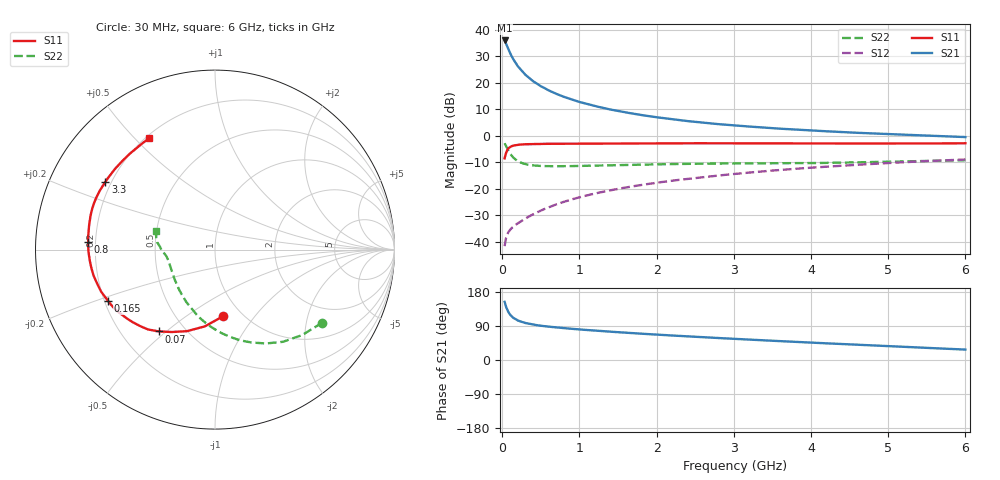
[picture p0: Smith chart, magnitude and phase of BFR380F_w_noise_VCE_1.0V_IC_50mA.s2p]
! Infineon Technologies  Discrete & RF Semiconductors
! BFR380F
! VCE =  1.0 V,  IC =  50 mA
! Common Emitter S-Parameters:  Nov 2015
# GHz  S  MA  R  50
!  f  S11  S21  S12  S22
! GHz  MAG  ANG  MAG  ANG  MAG  ANG  MAG  ANG
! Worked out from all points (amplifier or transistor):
!   206 points, 30 MHz to 6 GHz, reference 50 ohm
!   highest |S21| = 36.0 dB at 30 MHz (marker M1)
!   |S21| within 3 dB of that: start of sweep to 74.54 MHz
!   unconditionally stable (mu >= 1): 566.7 MHz to end of sweep
!   at 200 MHz: K = 0.70, MSG = 29.7 dB, |S12| = -33.1 dB
!   at 1.56 GHz: K = 1.09, MAG = 12.6 dB, |S12| = -19.8 dB
!   at 6 GHz: K = 1.02, MAG = 3.4 dB, |S12| = -9.0 dB
!   lowest NFmin = 1.53 dB at 900 MHz
!   S11 on the Smith chart (normalised r, x): 30 MHz: 0.82, -0.71; 70 MHz: 0.36, -0.47; 165 MHz: 0.21, -0.22; 800 MHz: 0.17, +0.03; 3.3 GHz: 0.18, +0.27; 6 GHz: 0.21, +0.55
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0.03  0.3749 -83.4  63.26 153.6  0.0082 70.7  0.7226 -34.4
0.04  0.4318 -97.6  58.99 146.4  0.0101 65.7  0.6801 -44.4
0.05  0.4806 -109.0  54.69 139.7  0.0119 61.0  0.6382 -53.6
0.07  0.5536 -124.6  46.41 129.8  0.0142 55.6  0.5565 -68.5
0.09  0.597 -134.6  39.66 122.9  0.0159 52.6  0.4929 -80.4
0.11  0.6228 -141.9  34.38 117.5  0.0173 50.8  0.4436 -90.2
0.135  0.646 -148.7  29.25 112.6  0.0187 50.7  0.3992 -100.2
0.15  0.6561 -152.0  26.75 110.2  0.0195 51.0  0.3787 -105.3
0.165  0.6609 -154.4  24.91 108.7  0.0203 51.5  0.363 -109.0
0.2  0.6762 -159.7  20.69 104.3  0.0221 52.6  0.3329 -118.7
0.26  0.6861 -165.2  16.34 100.0  0.0251 55.4  0.3034 -130.0
0.3  0.6921 -168.0  14.18 97.6  0.0273 57.3  0.2914 -136.1
0.4  0.6979 -173.0  10.74 93.5  0.0328 61.2  0.2758 -146.5
0.6  0.7053 -179.2  7.212 87.9  0.0445 66.1  0.2663 -158.5
0.8  0.7079 176.6  5.428 83.9  0.0566 68.7  0.266 -165.0
1.04  0.711 172.7  4.201 80.0  0.0712 70.1  0.2696 -169.8
2.02  0.7214 160.8  2.219 66.8  0.1308 69.7  0.2892 -177.1
3.1  0.7193 150.4  1.53 55.0  0.1956 66.0  0.3004 179.7
3.3  0.7179 148.4  1.458 52.9  0.2078 65.0  0.3011 179.4
4.1  0.7153 140.2  1.237 44.9  0.2551 60.9  0.3057 177.4
5.1  0.7144 130.6  1.063 35.7  0.3111 55.4  0.326 172.0
6  0.7214 120.5  0.945 27.5  0.3559 49.4  0.3454 162.2
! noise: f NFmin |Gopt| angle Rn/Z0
0.45  1.55  0.41  -175  0.08
0.9  1.53  0.44  -174  0.07
1.8  1.72  0.48  -162  0.09
1.9  1.81  0.48  -163  0.09
2.4  1.87  0.49  -153  0.12
3.5  2.48  0.54  -144  0.2
